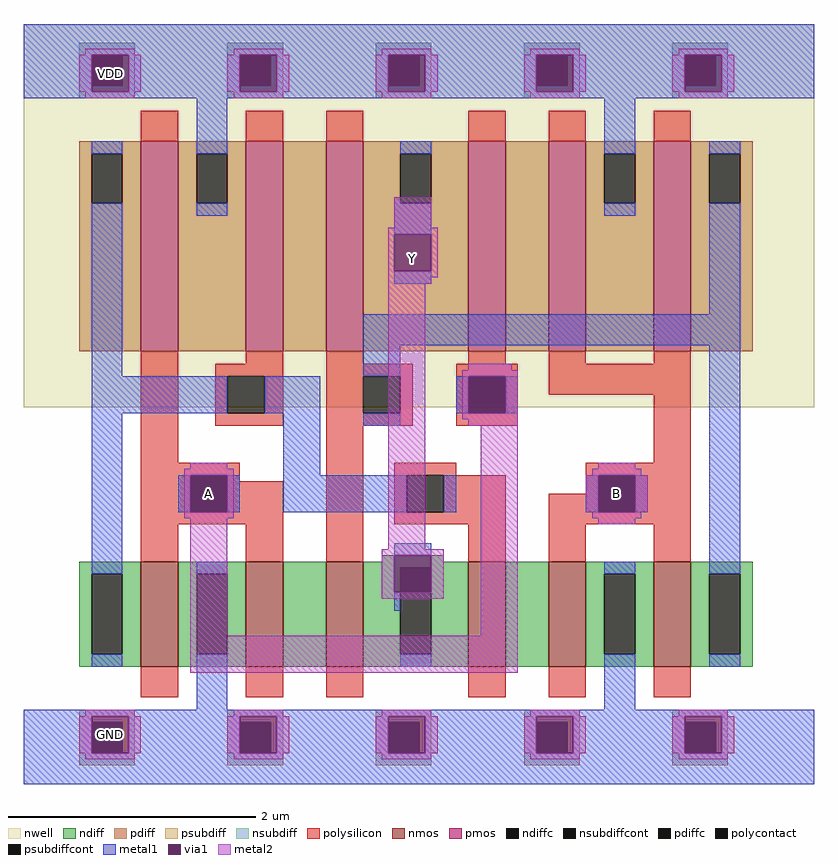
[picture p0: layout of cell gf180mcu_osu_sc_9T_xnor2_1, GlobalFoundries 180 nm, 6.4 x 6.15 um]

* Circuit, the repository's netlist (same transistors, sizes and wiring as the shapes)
.option scale=0.05u

.subckt gf180mcu_osu_sc_9T_xnor2_1 A Y B
X0 a_42_70 a_9_19 VDD VDD pmos_3p3 w=34 l=6
X1 Y a_49_14 a_42_70 VDD pmos_3p3 w=34 l=6
X2 a_49_14 B VDD VDD pmos_3p3 w=34 l=6
X3 GND A a_9_19 GND nmos_3p3 w=17 l=6
X4 VDD A a_9_19 VDD pmos_3p3 w=34 l=6
X5 a_78_19 a_9_19 Y GND nmos_3p3 w=17 l=6
X6 GND B a_78_19 GND nmos_3p3 w=17 l=6
X7 a_78_70 A Y VDD pmos_3p3 w=34 l=6
X8 a_42_19 A GND GND nmos_3p3 w=17 l=6
X9 VDD B a_78_70 VDD pmos_3p3 w=34 l=6
X10 Y a_49_14 a_42_19 GND nmos_3p3 w=17 l=6
X11 a_49_14 B GND GND nmos_3p3 w=17 l=6
.ends

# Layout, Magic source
magic
tech gf180mcuC
<< nwell >>
rect 0 97 128 159
<< nmos >>
rect 19 55 25 72
rect 36 55 42 72
rect 49 55 55 72
rect 72 55 78 72
rect 85 55 91 72
rect 102 55 108 72
<< pmos >>
rect 19 106 25 140
rect 36 106 42 140
rect 49 106 55 140
rect 72 106 78 140
rect 85 106 91 140
rect 102 106 108 140
<< ndiff >>
rect 58 72 68 73
rect 9 70 19 72
rect 9 57 11 70
rect 16 57 19 70
rect 9 55 19 57
rect 25 70 36 72
rect 25 57 28 70
rect 33 57 36 70
rect 25 55 36 57
rect 42 55 49 72
rect 55 71 72 72
rect 55 57 61 71
rect 66 57 72 71
rect 55 55 72 57
rect 78 55 85 72
rect 91 70 102 72
rect 91 57 94 70
rect 99 57 102 70
rect 91 55 102 57
rect 108 70 118 72
rect 108 57 111 70
rect 116 57 118 70
rect 108 55 118 57
<< pdiff >>
rect 9 138 19 140
rect 9 130 11 138
rect 16 130 19 138
rect 9 106 19 130
rect 25 138 36 140
rect 25 130 28 138
rect 33 130 36 138
rect 25 106 36 130
rect 42 106 49 140
rect 55 138 72 140
rect 55 130 61 138
rect 66 130 72 138
rect 55 106 72 130
rect 78 106 85 140
rect 91 138 102 140
rect 91 130 94 138
rect 99 130 102 138
rect 91 106 102 130
rect 108 138 118 140
rect 108 130 111 138
rect 116 130 118 138
rect 108 106 118 130
<< ndiffc >>
rect 11 57 16 70
rect 28 57 33 70
rect 61 57 66 71
rect 94 57 99 70
rect 111 57 116 70
<< pdiffc >>
rect 11 130 16 138
rect 28 130 33 138
rect 61 130 66 138
rect 94 130 99 138
rect 111 130 116 138
<< psubdiff >>
rect 9 46 18 48
rect 9 41 11 46
rect 16 41 18 46
rect 9 39 18 41
rect 33 46 42 48
rect 33 41 35 46
rect 40 41 42 46
rect 33 39 42 41
rect 57 46 66 48
rect 57 41 59 46
rect 64 41 66 46
rect 57 39 66 41
rect 81 46 90 48
rect 81 41 83 46
rect 88 41 90 46
rect 81 39 90 41
rect 105 46 114 48
rect 105 41 107 46
rect 112 41 114 46
rect 105 39 114 41
<< nsubdiff >>
rect 9 154 18 156
rect 9 149 11 154
rect 16 149 18 154
rect 9 147 18 149
rect 33 154 42 156
rect 33 149 35 154
rect 40 149 42 154
rect 33 147 42 149
rect 57 154 66 156
rect 57 149 59 154
rect 64 149 66 154
rect 57 147 66 149
rect 81 154 90 156
rect 81 149 83 154
rect 88 149 90 154
rect 81 147 90 149
rect 105 154 114 156
rect 105 149 107 154
rect 112 149 114 154
rect 105 147 114 149
<< psubdiffcont >>
rect 11 41 16 46
rect 35 41 40 46
rect 59 41 64 46
rect 83 41 88 46
rect 107 41 112 46
<< nsubdiffcont >>
rect 11 149 16 154
rect 35 149 40 154
rect 59 149 64 154
rect 83 149 88 154
rect 107 149 112 154
<< polysilicon >>
rect 19 140 25 145
rect 36 140 42 145
rect 49 140 55 145
rect 72 140 78 145
rect 85 140 91 145
rect 102 140 108 145
rect 19 88 25 106
rect 36 104 42 106
rect 31 102 42 104
rect 31 96 33 102
rect 39 96 42 102
rect 31 94 42 96
rect 49 104 55 106
rect 72 104 78 106
rect 85 104 91 106
rect 102 104 108 106
rect 49 102 63 104
rect 49 96 55 102
rect 61 96 63 102
rect 49 94 63 96
rect 70 102 80 104
rect 70 96 72 102
rect 78 96 80 102
rect 85 99 108 104
rect 70 94 80 96
rect 19 86 35 88
rect 19 80 27 86
rect 33 85 35 86
rect 33 80 42 85
rect 19 78 42 80
rect 19 72 25 78
rect 36 72 42 78
rect 49 72 55 94
rect 102 88 108 99
rect 60 86 70 88
rect 91 86 108 88
rect 60 80 62 86
rect 68 80 78 86
rect 91 83 93 86
rect 60 78 78 80
rect 72 72 78 78
rect 85 80 93 83
rect 99 80 108 86
rect 85 78 108 80
rect 85 72 91 78
rect 102 72 108 78
rect 19 50 25 55
rect 36 50 42 55
rect 49 50 55 55
rect 72 50 78 55
rect 85 50 91 55
rect 102 50 108 55
<< polycontact >>
rect 33 96 39 102
rect 55 96 61 102
rect 72 96 78 102
rect 27 80 33 86
rect 62 80 68 86
rect 93 80 99 86
<< metal1 >>
rect 0 154 128 159
rect 0 148 11 154
rect 17 148 35 154
rect 41 148 59 154
rect 65 148 83 154
rect 89 148 107 154
rect 113 148 128 154
rect 0 147 128 148
rect 11 138 16 140
rect 11 102 16 130
rect 28 138 33 147
rect 61 138 66 140
rect 28 128 33 130
rect 60 130 61 131
rect 60 125 66 130
rect 94 138 99 147
rect 94 128 99 130
rect 111 138 116 140
rect 60 117 66 119
rect 111 112 116 130
rect 55 107 116 112
rect 55 102 61 107
rect 11 96 33 102
rect 39 96 48 102
rect 11 70 16 96
rect 42 86 48 96
rect 70 96 72 102
rect 78 96 80 102
rect 55 94 61 96
rect 25 80 27 86
rect 33 80 35 86
rect 42 80 62 86
rect 68 80 70 86
rect 91 80 93 86
rect 99 80 101 86
rect 60 73 66 75
rect 11 55 16 57
rect 28 70 33 72
rect 60 64 61 67
rect 28 48 33 57
rect 61 55 66 57
rect 94 70 99 72
rect 94 48 99 57
rect 111 70 116 107
rect 111 55 116 57
rect 0 47 128 48
rect 0 41 11 47
rect 17 41 35 47
rect 41 41 59 47
rect 65 41 83 47
rect 89 41 107 47
rect 113 41 128 47
rect 0 36 128 41
<< via1 >>
rect 11 149 16 154
rect 16 149 17 154
rect 11 148 17 149
rect 35 149 40 154
rect 40 149 41 154
rect 35 148 41 149
rect 59 149 64 154
rect 64 149 65 154
rect 59 148 65 149
rect 83 149 88 154
rect 88 149 89 154
rect 83 148 89 149
rect 107 149 112 154
rect 112 149 113 154
rect 107 148 113 149
rect 60 119 66 125
rect 72 96 78 102
rect 27 80 33 86
rect 93 80 99 86
rect 60 71 66 73
rect 60 67 61 71
rect 61 67 66 71
rect 11 46 17 47
rect 11 41 16 46
rect 16 41 17 46
rect 35 46 41 47
rect 35 41 40 46
rect 40 41 41 46
rect 59 46 65 47
rect 59 41 64 46
rect 64 41 65 46
rect 83 46 89 47
rect 83 41 88 46
rect 88 41 89 46
rect 107 46 113 47
rect 107 41 112 46
rect 112 41 113 46
<< metal2 >>
rect 10 154 18 155
rect 34 154 42 155
rect 58 154 66 155
rect 82 154 90 155
rect 106 154 114 155
rect 9 148 11 154
rect 17 148 19 154
rect 33 148 35 154
rect 41 148 43 154
rect 57 148 59 154
rect 65 148 67 154
rect 81 148 83 154
rect 89 148 91 154
rect 105 148 107 154
rect 113 148 115 154
rect 10 147 18 148
rect 34 147 42 148
rect 58 147 66 148
rect 82 147 90 148
rect 106 147 114 148
rect 60 126 66 131
rect 59 125 67 126
rect 59 119 60 125
rect 66 119 67 125
rect 59 118 67 119
rect 59 117 66 118
rect 27 87 33 88
rect 26 86 34 87
rect 26 80 27 86
rect 33 80 34 86
rect 26 79 34 80
rect 27 60 33 79
rect 59 74 65 117
rect 72 103 79 104
rect 71 102 80 103
rect 71 96 72 102
rect 78 96 80 102
rect 71 95 80 96
rect 72 94 80 95
rect 58 73 68 74
rect 58 67 60 73
rect 66 67 68 73
rect 58 66 68 67
rect 74 60 80 94
rect 93 87 99 88
rect 92 86 100 87
rect 91 80 93 86
rect 99 80 101 86
rect 92 79 100 80
rect 93 78 99 79
rect 27 54 80 60
rect 10 47 18 48
rect 34 47 42 48
rect 58 47 66 48
rect 82 47 90 48
rect 106 47 114 48
rect 9 41 11 47
rect 17 41 19 47
rect 33 41 35 47
rect 41 41 43 47
rect 57 41 59 47
rect 65 41 67 47
rect 81 41 83 47
rect 89 41 91 47
rect 105 41 107 47
rect 113 41 115 47
rect 10 40 18 41
rect 34 40 42 41
rect 58 40 66 41
rect 82 40 90 41
rect 106 40 114 41
<< labels >>
rlabel metal2 14 151 14 151 1 VDD
rlabel metal2 14 44 14 44 1 GND
rlabel metal2 30 83 30 83 1 A
port 1 n
rlabel metal2 96 83 96 83 1 B
port 4 n
rlabel metal2 63 121 63 121 1 Y
port 3 n
<< end >>
